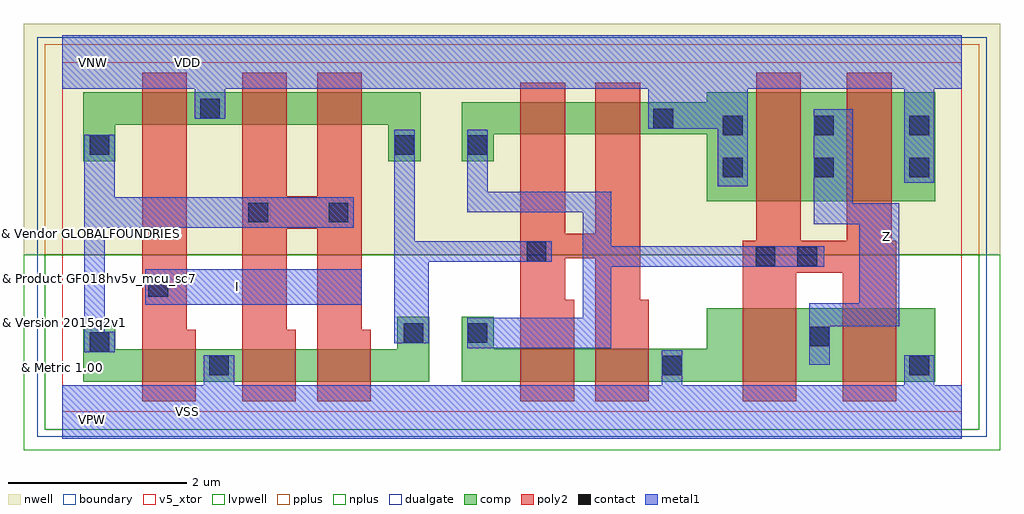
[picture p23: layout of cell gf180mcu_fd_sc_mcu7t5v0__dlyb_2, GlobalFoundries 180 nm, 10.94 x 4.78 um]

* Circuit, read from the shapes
.subckt gf180mcu_fd_sc_mcu7t5v0__dlyb_2 I VDD VNW VSS Z
XM1 VSS I n1 VSUBS nfet_05v0 w=0.36u l=0.6u
XM2 n2 n1 VSS VSUBS nfet_05v0 w=0.36u l=0.6u
XM3 n3 n1 n2 VSUBS nfet_05v0 w=0.36u l=0.6u
XM4 n4 n3 n5 VSUBS nfet_05v0 w=0.365u l=0.6u
XM5 VSS n3 n4 VSUBS nfet_05v0 w=0.365u l=0.6u
XM6 Z n5 VSS VSUBS nfet_05v0 w=0.82u l=0.6u m=2
XM7 VDD I n1 VNW pfet_05v0 w=0.36u l=0.5u
XM8 n6 n1 VDD VNW pfet_05v0 w=0.36u l=0.5u
XM9 n3 n1 n6 VNW pfet_05v0 w=0.36u l=0.5u
XM10 n7 n3 n5 VNW pfet_05v0 w=0.36u l=0.5u
XM11 VDD n3 n7 VNW pfet_05v0 w=0.36u l=0.5u
XM12 Z n5 VDD VNW pfet_05v0 w=1.22u l=0.5u m=2
.ends

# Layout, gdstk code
import gdstk
lib = gdstk.Library(unit=1e-6, precision=1e-09)
def R(c, l, rs):  # rectangles x0, y0, x1, y1
    for r in rs: c.add(gdstk.rectangle(r[:2], r[2:], *l))
def P(c, l, *ps):  # polygons
    for p in ps: c.add(gdstk.Polygon(p, *l))
boundary = (0, 0)
nwell = (21, 0)
comp = (22, 0)
poly2 = (30, 0)
pplus = (31, 0)
nplus = (32, 0)
contact = (33, 0)
metal1 = (34, 0)
dualgate = (55, 0)
v5_xtor = (112, 1)
lvpwell = (204, 0)

gf180mcu_fd_sc_mcu7t5v0_ = lib.new_cell('gf180mcu_fd_sc_mcu7t5v0__dlyb_2')
R(gf180mcu_fd_sc_mcu7t5v0_, boundary, [(0,0,10.08,3.92)])
R(gf180mcu_fd_sc_mcu7t5v0_, nwell, [(-0.43,1.76,10.51,4.35)])
P(gf180mcu_fd_sc_mcu7t5v0_, comp, [(0.235,2.81),(0.235,3.58),(4.015,3.58),(4.015,2.81),(3.655,2.81),(3.655,3.22),(0.595,3.22),(0.595,2.81)],
  [(0.235,0.34),(0.235,0.965),(0.595,0.965),(0.595,0.7),(3.755,0.7),(3.755,1.065),(4.115,1.065),(4.115,0.34)],
  [(4.475,0.34),(4.475,1.065),(4.835,1.065),(4.835,0.705),(7.225,0.705),(7.225,1.16),(9.785,1.16),(9.785,0.34)],
  [(7.225,2.36),(7.225,3.11),(4.835,3.11),(4.835,2.81),(4.475,2.81),(4.475,3.47),(7.225,3.47),(7.225,3.58),(9.785,3.58),(9.785,2.36)])
P(gf180mcu_fd_sc_mcu7t5v0_, poly2, [(0.895,0.12),(0.895,3.8),(1.395,3.8),(1.395,0.92),(1.495,0.92),(1.495,0.12)],
  [(2.015,0.12),(2.015,3.8),(2.515,3.8),(2.515,2.415),(2.855,2.415),(2.855,3.8),(3.355,3.8),(3.355,0.92),(3.455,0.92),(3.455,0.12),(2.855,0.12),(2.855,2.055),(2.515,2.055),(2.515,0.92),(2.615,0.92),(2.615,0.12)],
  [(5.135,0.12),(5.135,3.69),(5.635,3.69),(5.635,1.995),(5.975,1.995),(5.975,3.69),(6.475,3.69),(6.475,1.255),(6.575,1.255),(6.575,0.12),(5.975,0.12),(5.975,1.72),(5.635,1.72),(5.635,1.255),(5.735,1.255),(5.735,0.12)],
  [(7.625,0.12),(7.625,1.92),(7.775,1.92),(7.775,3.8),(8.275,3.8),(8.275,1.92),(8.795,1.92),(8.795,3.8),(9.295,3.8),(9.295,1.92),(9.345,1.92),(9.345,0.12),(8.745,0.12),(8.745,1.56),(8.225,1.56),(8.225,0.12)])
R(gf180mcu_fd_sc_mcu7t5v0_, pplus, [(-0.2,1.76,10.28,4.12)])
R(gf180mcu_fd_sc_mcu7t5v0_, nplus, [(-0.2,-0.2,10.28,1.76)])
R(gf180mcu_fd_sc_mcu7t5v0_, contact, [(1.645,0.41,1.865,0.63), (6.725,0.41,6.945,0.63), (9.495,0.41,9.715,0.63), (0.305,0.675,0.525,0.895), (8.375,0.735,8.595,0.955), (3.825,0.775,4.045,0.995), (4.545,0.775,4.765,0.995), (0.965,1.29,1.185,1.51), (7.77,1.63,7.99,1.85), (8.24,1.63,8.46,1.85), (5.205,1.685,5.425,1.905), (2.085,2.125,2.305,2.345), (2.985,2.125,3.205,2.345), (7.405,2.63,7.625,2.85), (8.425,2.63,8.645,2.85), (9.495,2.63,9.715,2.85), (0.305,2.88,0.525,3.1), (3.725,2.88,3.945,3.1), (4.545,2.88,4.765,3.1), (7.405,3.1,7.625,3.32), (8.425,3.1,8.645,3.32), (9.495,3.1,9.715,3.32), (6.625,3.18,6.845,3.4), (1.545,3.29,1.765,3.51)])
R(gf180mcu_fd_sc_mcu7t5v0_, metal1, [(0.93,1.2,3.355,1.6)])
P(gf180mcu_fd_sc_mcu7t5v0_, metal1, [(0.245,0.67),(0.245,3.105),(0.585,3.105),(0.585,2.405),(3.265,2.405),(3.265,2.065),(0.475,2.065),(0.475,0.9),(0.585,0.9),(0.585,0.67)],
  [(3.72,0.77),(3.72,3.16),(3.95,3.16),(3.95,1.91),(5.485,1.91),(5.485,1.68),(4.105,1.68),(4.105,0.77)],
  [(4.54,0.715),(4.54,1.055),(5.835,1.055),(5.835,2.235),(4.54,2.235),(4.54,3.16),(4.77,3.16),(4.77,2.465),(6.155,2.465),(6.155,1.855),(8.54,1.855),(8.54,1.625),(6.155,1.625),(6.155,0.715)],
  [(8.37,0.53),(8.37,1.215),(8.93,1.215),(8.93,2.105),(8.42,2.105),(8.42,3.39),(8.86,3.39),(8.86,2.34),(9.38,2.34),(9.38,0.96),(8.6,0.96),(8.6,0.53)],
  [(0,-0.3),(0,0.3),(1.585,0.3),(1.585,0.635),(1.925,0.635),(1.925,0.3),(6.72,0.3),(6.72,0.69),(6.95,0.69),(6.95,0.3),(9.435,0.3),(9.435,0.635),(9.775,0.635),(9.775,0.3),(10.08,0.3),(10.08,-0.3)],
  [(7.345,2.53),(7.345,3.175),(6.565,3.175),(6.565,3.62),(1.825,3.62),(1.825,3.285),(1.485,3.285),(1.485,3.62),(0,3.62),(0,4.22),(10.08,4.22),(10.08,3.62),(9.775,3.62),(9.775,2.57),(9.435,2.57),(9.435,3.62),(7.685,3.62),(7.685,2.53)])
R(gf180mcu_fd_sc_mcu7t5v0_, dualgate, [(-0.28,-0.28,10.36,4.2)])
R(gf180mcu_fd_sc_mcu7t5v0_, v5_xtor, [(0,0,10.08,3.92)])
R(gf180mcu_fd_sc_mcu7t5v0_, lvpwell, [(-0.43,-0.43,10.51,1.76)])
gf180mcu_fd_sc_mcu7t5v0_.add(gdstk.Label('VDD', (1.4,3.92), layer=34, texttype=10))
gf180mcu_fd_sc_mcu7t5v0_.add(gdstk.Label('I', (1.96,1.4), layer=34, texttype=10))
gf180mcu_fd_sc_mcu7t5v0_.add(gdstk.Label('Z', (9.24,1.96), layer=34, texttype=10))
gf180mcu_fd_sc_mcu7t5v0_.add(gdstk.Label('VSS', (1.4,0), layer=34, texttype=10))
gf180mcu_fd_sc_mcu7t5v0_.add(gdstk.Label('& Vendor GLOBALFOUNDRIES', (0,2), layer=63, texttype=63))
gf180mcu_fd_sc_mcu7t5v0_.add(gdstk.Label('& Product GF018hv5v_mcu_sc7', (0,1.5), layer=63, texttype=63))
gf180mcu_fd_sc_mcu7t5v0_.add(gdstk.Label('& Version 2015q2v1', (0,1), layer=63, texttype=63))
gf180mcu_fd_sc_mcu7t5v0_.add(gdstk.Label('& Metric 1.00', (0,0.5), layer=63, texttype=63))
gf180mcu_fd_sc_mcu7t5v0_.add(gdstk.Label('VNW', (0.345,3.92), layer=21, texttype=10))
gf180mcu_fd_sc_mcu7t5v0_.add(gdstk.Label('VPW', (0.34,-0.085), layer=204, texttype=10))

lib.write_gds('gf180mcu_fd_sc_mcu7t5v0__dlyb_2.gds')
